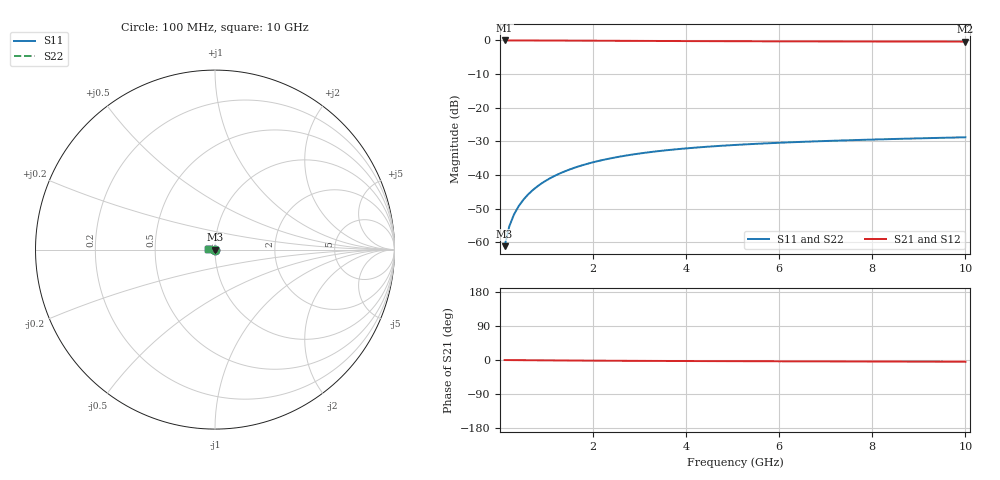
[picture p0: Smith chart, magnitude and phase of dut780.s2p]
! Touchstone file exported from HFSS 2024.1.0
!  File:  C:/UserFiles/LocalFiles/RDL_TSV_Batchsim/temp_TSV1_780_1779874492.aedt
!  Generated:  05:39:11 PM May 27, 2026
!  Design:  TSV1
!  Project:  temp_TSV1_780_1779874492
!  Setup:  Setup1
!  Solution:  Sweep
! Variables:
!  dtsv = 7.71um
!  hbump = 3um
!  htsv = 70.74um
!  lrdl = 252.1521522um
!  p = 40
!  p1 = 42.71um
!  t = 500um
!  trdl = 3um
!  wrdl = 24.89489489um
# GHz S MA R 50.000000
! Terminal data exported
! Port[1] = TSV22_T1
! Port[2] = TSV22_T2
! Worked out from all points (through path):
!   100 points, 100 MHz to 10 GHz, reference 50 ohm
!   highest |S21| = 0.00 dB at 100 MHz (marker M1); lowest = -0.3 dB at 10 GHz (marker M2)
!   lowest |S11| = -61.1 dB at 100 MHz (marker M3), VSWR 1.00, Z = 50 - j0.0855 ohm
!   |S11| at or under -10 dB: start of sweep to end of sweep
!   |S22| runs from -61.1 to -28.8 dB; largest |S21 - S12| = 4.9e-15
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0.1  0.0008784 -76.7  0.9997 -0.1  0.9997 -0.1  0.0008784 -76.7
! Gamma 0 0 0 0
! Port Impedance 50 0 50 0
0.2  0.001728 -85.7  0.9997 -0.2  0.9997 -0.2  0.001728 -85.7
0.3  0.002582 -89.9  0.9995 -0.3  0.9995 -0.3  0.002582 -89.9
0.4  0.003433 -92.9  0.9993 -0.4  0.9993 -0.4  0.003433 -92.9
0.5  0.004278 -95.4  0.9991 -0.5  0.9991 -0.5  0.004278 -95.4
0.6  0.005116 -97.6  0.9988 -0.6  0.9988 -0.6  0.005116 -97.6
0.7  0.005945 -99.6  0.9985 -0.7  0.9985 -0.7  0.005945 -99.6
0.8  0.006764 -101.5  0.9981 -0.8  0.9981 -0.8  0.006764 -101.5
0.9  0.007572 -103.4  0.9977 -0.9  0.9977 -0.9  0.007572 -103.4
1.1  0.009149 -107.0  0.9968 -1.0  0.9968 -1.0  0.009149 -107.0
1.4  0.01141 -112.0  0.9952 -1.3  0.9952 -1.3  0.01141 -112.0
1.6  0.01283 -115.2  0.994 -1.4  0.994 -1.4  0.01283 -115.2
1.8  0.01419 -118.2  0.9927 -1.6  0.9927 -1.6  0.01419 -118.2
2.1  0.0161 -122.6  0.9907 -1.8  0.9907 -1.8  0.0161 -122.6
2.5  0.0184 -128.1  0.988 -2.0  0.988 -2.0  0.0184 -128.1
2.9  0.02044 -133.2  0.9853 -2.2  0.9853 -2.2  0.02044 -133.2
3.4  0.02266 -139.0  0.9822 -2.5  0.9822 -2.5  0.02266 -139.0
4.2  0.02557 -147.2  0.9777 -2.8  0.9777 -2.8  0.02557 -147.2
5.1  0.02814 -155.1  0.9735 -3.1  0.9735 -3.1  0.02814 -155.1
6.7  0.03154 -166.7  0.9679 -3.6  0.9679 -3.6  0.03154 -166.7
8.4  0.03427 -176.6  0.964 -4.1  0.964 -4.1  0.03427 -176.6
10  0.03643 175.5  0.9613 -4.6  0.9613 -4.6  0.03643 175.5
